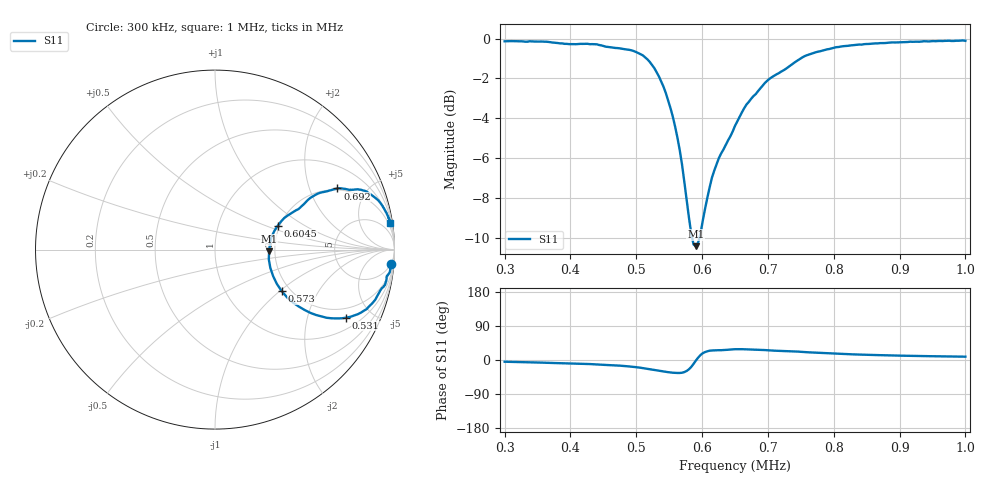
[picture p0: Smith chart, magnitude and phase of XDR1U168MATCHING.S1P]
!Agilent Technologies,E5071C,MY46100305,A.07.02
!Date: Fri Jan 01 00:34:11 1988
!Data & Calibration Information:
!Freq	S11:SOLT1(ON)
# Hz S MA R 50
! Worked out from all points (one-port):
!   201 points, 300 kHz to 1 MHz, reference 50 ohm
!   lowest |S11| = -10.4 dB at 590.5 kHz (marker M1), VSWR 1.86, Z = 93.2 - j1.76 ohm
!   |S11| at or under -10 dB: 585 kHz to 595.9 kHz (10.91 kHz wide, 1.85 % of centre)
!   S11 on the Smith chart (normalised r, x): 300 kHz: 5, -24; 531 kHz: 1.49, -3.50; 573 kHz: 1.80, -1.03; 604.5 kHz: 1.95, +0.61; 692 kHz: 1.93, +3.14; 1 MHz: 1, +13
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300000  0.9843 -4.6
387500  0.9723 -8.5
412000  0.969 -9.4
436500  0.9679 -11.4
475000  0.9448 -14.9
496000  0.9306 -18.1
510000  0.9075 -21.4
520500  0.8739 -24.3
531000  0.823 -27.4
545000  0.7293 -31.4
555500  0.6372 -33.6
562500  0.5648 -34.2
573000  0.4376 -31.9
583500  0.3248 -18.3
587000  0.3046 -10.3
590500  0.3017 -1.6
597500  0.3236 13.0
604500  0.3743 20.9
611500  0.4239 24.5
618500  0.4668 25.4
650000  0.6041 28.5
664000  0.669 28.3
692000  0.7625 26.5
737500  0.8637 22.9
772500  0.9236 19.3
825000  0.9607 15.2
912500  0.9802 11.2
1000000  0.9869 8.7
